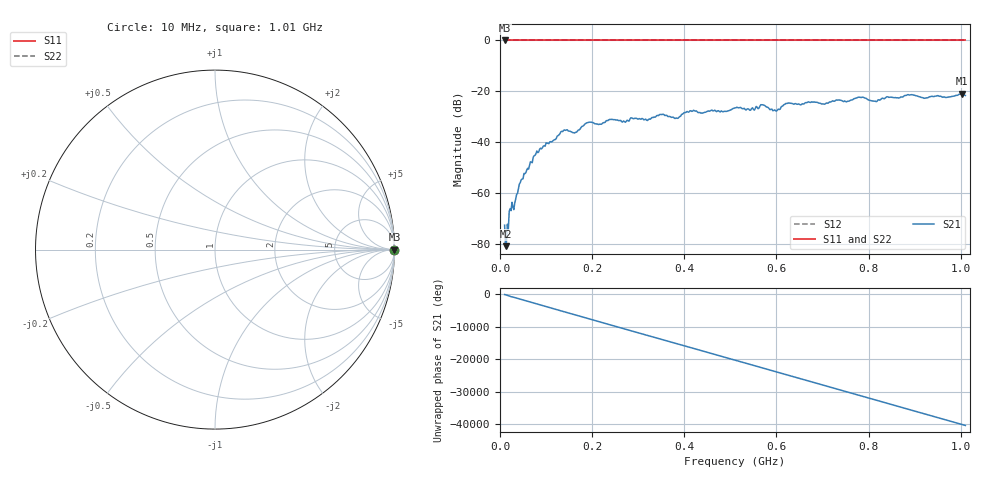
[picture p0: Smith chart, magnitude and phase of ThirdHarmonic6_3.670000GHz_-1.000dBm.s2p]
! 8/17/2025 12:24:12 PM
! C:\ANRITSUVNA\TEMP\TEMP.S2P
! CHANNEL.1
! TR.MEASUREMENT
! RAW.DATA
! RF.CORRECTION.OFF
! AVERAGING.OFF
! IF.BANDWIDTH: 5KHZ
! SWEEPTYPE:  FREQ.SWEEP(Linear)
! Reference Plane Port Info
! PORT:  PORT1  PORT2
! DISTANCE:  0  m  0  m
! TIME:  0  s  0  s
! PHASE.OFFSET:  0  deg.  0  deg.
! LOSS:  0  dB  0  dB
! REF.LOSS:  0  dB  0  dB
! REF.FREQ:  0  Hz  0  Hz
! Power Info
! POWER:  -20  dBm  -20  dBm
! EFF.POWER:  -20  dBm  -20  dBm
! SOURCE.ATTEN:  0  dB  0  dB
! TEST.ATTEN:  0  dB  0  dB
# GHZ S RI R 50.0
! FREQ.GHZ  S11RE  S11IM  S21RE  S21IM  S12RE  S12IM  S22RE  S22IM
!; PortSelection: Port_12
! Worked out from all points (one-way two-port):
!   501 points, 10 MHz to 1.01 GHz, reference 50 ohm
!   highest |S21| = -20.94 dB at 1.002 GHz (marker M1); lowest = -80.8 dB at 12 MHz (marker M2)
!   lowest |S11| = 0.0 dB at 10 MHz (marker M3)
!   |S11| at or under -10 dB: nowhere
!   |S22| runs from 0.0 to 0.0 dB; largest |S21 - S12| = 1.1
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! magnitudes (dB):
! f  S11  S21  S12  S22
! 10 MHz  0.0  -72.5  0.0  0.0
! 12 MHz  0.0  -80.8  0.0  0.0
! 16 MHz  0.0  -72.1  0.0  0.0
! 24 MHz  0.0  -66.8  0.0  0.0
! 32 MHz  0.0  -63.8  0.0  0.0
! 44 MHz  0.0  -55.8  0.0  0.0
! 76 MHz  0.0  -45.1  0.0  0.0
! 136 MHz  0.0  -35.8  0.0  0.0
! 162 MHz  0.0  -36.3  0.0  0.0
! 178 MHz  0.0  -33.7  0.0  0.0
! 192 MHz  0.0  -32.2  0.0  0.0
! 344 MHz  0.0  -29.5  0.0  0.0
! 382 MHz  0.0  -30.4  0.0  0.0
! 416 MHz  0.0  -27.8  0.0  0.0
! 510 MHz  0.0  -26.5  0.0  0.0
! 570 MHz  0.0  -25.3  0.0  0.0
! 596 MHz  0.0  -27.2  0.0  0.0
! 624 MHz  0.0  -24.7  0.0  0.0
! 678 MHz  0.0  -24.2  0.0  0.0
! 844 MHz  0.0  -22.3  0.0  0.0
! 1.002 GHz  0.0  -20.9  0.0  0.0
! 1.01 GHz  0.0  -21.6  0.0  0.0
